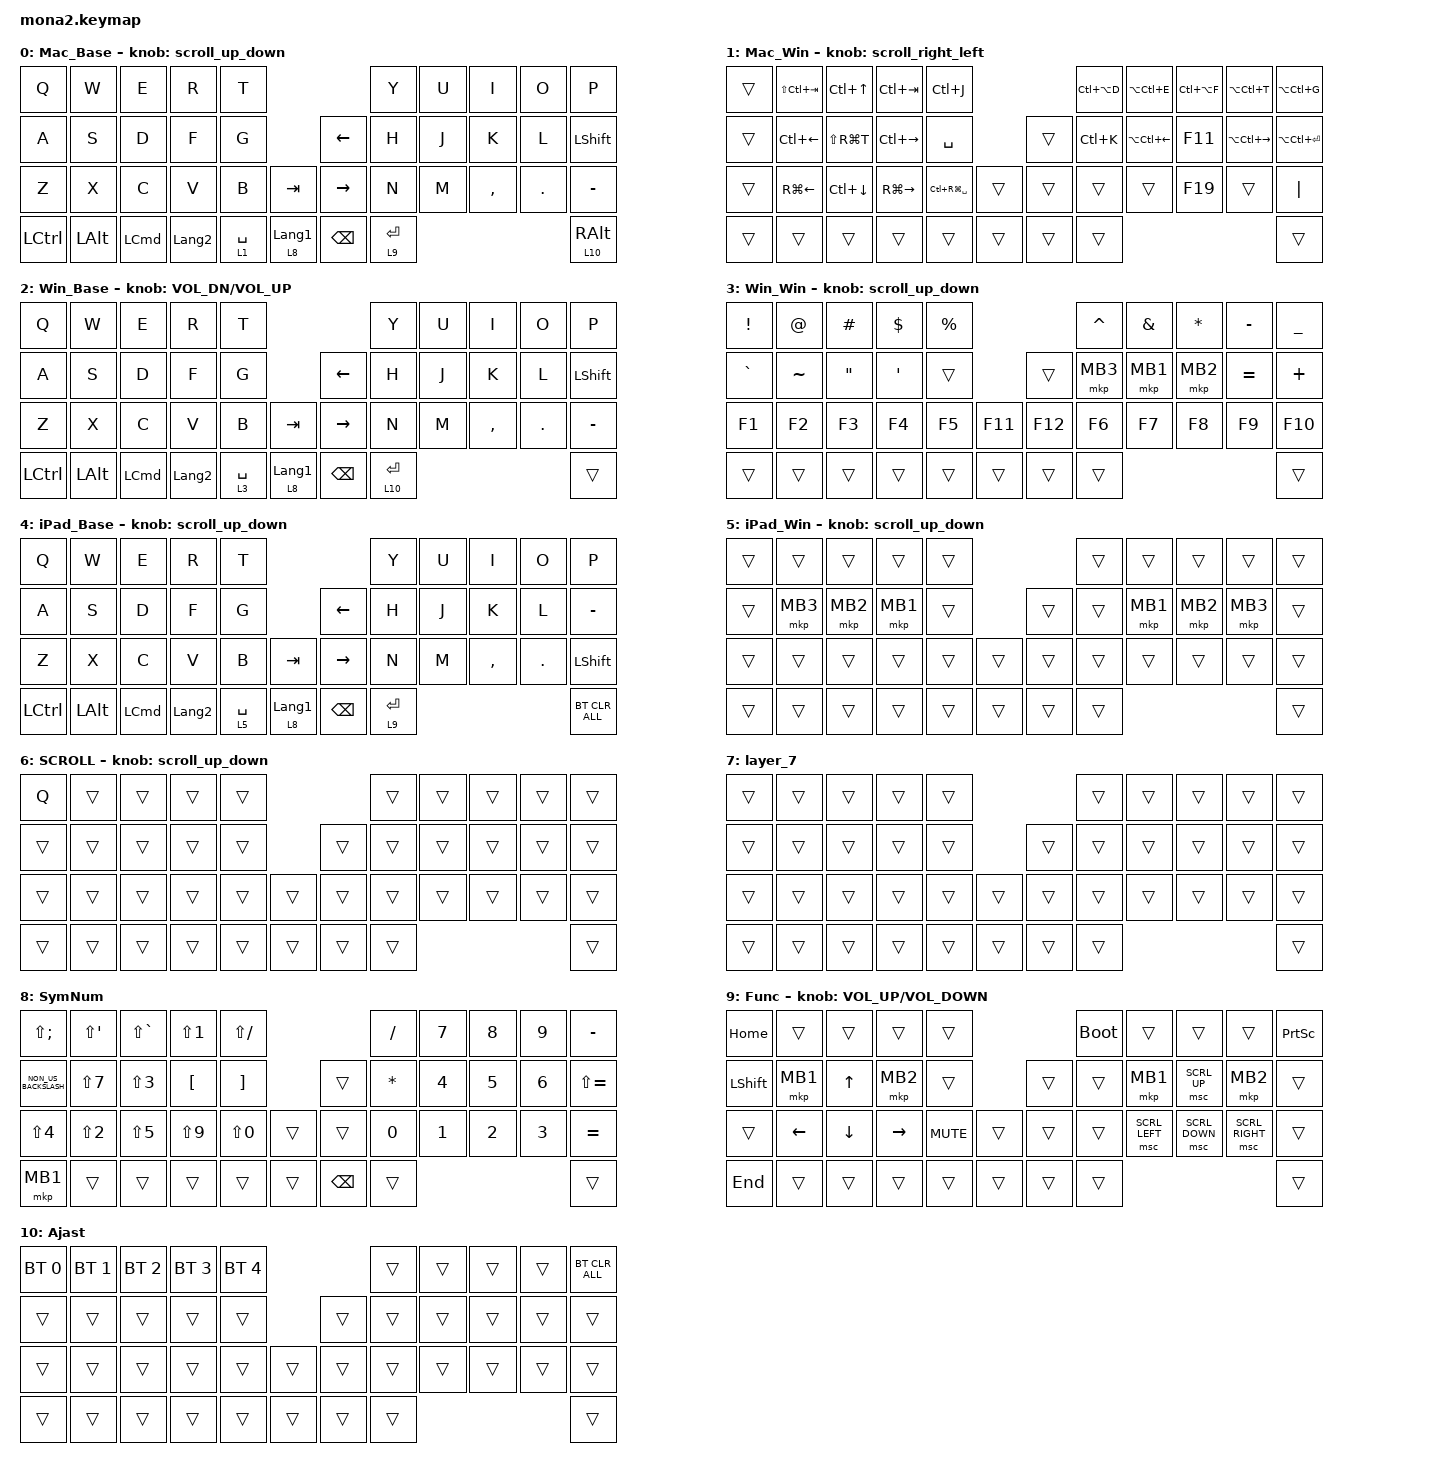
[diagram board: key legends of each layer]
#include <input/processors.dtsi>
#include <dt-bindings/zmk/input_transform.h>
#include <zephyr/dt-bindings/input/input-event-codes.h>
#include <behaviors.dtsi>
#include <dt-bindings/zmk/bt.h>
#include <dt-bindings/zmk/keys.h>
#include <dt-bindings/zmk/pointing.h>

#define ZMK_POINTING_DEFAULT_SCRL_VAL 100
#define MOUSE 5
#define SCROLL 6

&mt {
    flavor = "balanced";
    quick-tap-ms = <0>;
};

&lt {
    quick-tap-ms = <300>;
    flavor = "balanced";
};

/ {
    combos {
        compatible = "zmk,combos";

        layer4_ESC {
            bindings = <&lt 5 ESC>;
            key-positions = <39 38>;
        };

        tab {
            bindings = <&kp TAB>;
            key-positions = <11 12>;
        };
    };

    macros {
        mac: mac {
            compatible = "zmk,behavior-macro";
            #binding-cells = <0>;
            bindings = <&bt BT_SEL 0>, <&macro_wait_time 200>, <&to 0>;

            label = "MAC";
        };

        win: win {
            compatible = "zmk,behavior-macro";
            #binding-cells = <0>;
            bindings = <&bt BT_SEL 1>, <&macro_wait_time 200>, <&to 2>;

            label = "WIN";
        };

        win_coppo: win_coppo {
            compatible = "zmk,behavior-macro";
            #binding-cells = <0>;
            bindings = <&bt BT_SEL 2>, <&macro_wait_time 200>, <&to 2>;

            label = "WIN_COPPO";
        };

        iPad: iPad {
            compatible = "zmk,behavior-macro";
            #binding-cells = <0>;
            bindings = <&bt BT_SEL 3>, <&macro_wait_time 200>, <&to 4>;

            label = "IPAD";
        };
    };

    behaviors {
        scroll_up_down: mouse_wheel_up_down {
            compatible = "zmk,behavior-sensor-rotate";
            #sensor-binding-cells = <0>;
            bindings = <&msc SCRL_DOWN>, <&msc SCRL_UP>;

            tap-ms = <20>;
        };

        scroll_right_left: mouse_wheel_right_left {
            compatible = "zmk,behavior-sensor-rotate";
            #sensor-binding-cells = <0>;
            bindings = <&msc SCRL_LEFT>, <&msc SCRL_RIGHT>;

            tap-ms = <20>;
        };
    };

    keymap {
        compatible = "zmk,keymap";

        Mac_Base {
            bindings = <
&kp Q      &kp W         &kp E             &kp R           &kp T                                             &kp Y        &kp U  &kp I      &kp O    &kp P
&kp A      &kp S         &kp D             &kp F           &kp G                            &kp LEFT_ARROW   &kp H        &kp J  &kp K      &kp L    &kp LEFT_SHIFT
&kp Z      &kp X         &kp C             &kp V           &kp B        &kp TAB             &kp RIGHT_ARROW  &kp N        &kp M  &kp COMMA  &kp DOT  &kp MINUS
&kp LCTRL  &kp LEFT_ALT  &kp LEFT_COMMAND  &kp LANGUAGE_2  &lt 1 SPACE  &lt 8 LANGUAGE_1    &kp BACKSPACE    &lt 9 ENTER                             &lt 10 RIGHT_ALT
            >;

            sensor-bindings = <&scroll_up_down>;
        };

        Mac_Win {
            bindings = <
&trans  &kp LS(LC(TAB))     &kp LC(UP_ARROW)    &kp LC(TAB)          &kp LC(J)                            &kp LC(LA(D))  &kp LA(LC(E))           &kp LC(LA(F))  &kp LA(LC(T))            &kp LA(LC(G))
&trans  &kp LC(LEFT_ARROW)  &kp LS(RG(T))       &kp LC(RIGHT_ARROW)  &kp SPACE                    &trans  &kp LC(K)      &kp LA(LC(LEFT_ARROW))  &kp F11        &kp LA(LC(RIGHT_ARROW))  &kp LA(LC(ENTER))
&trans  &kp RG(LEFT_ARROW)  &kp LC(DOWN_ARROW)  &kp RG(RIGHT_ARROW)  &kp LC(RG(SPACE))  &trans    &trans  &trans         &trans                  &kp F19        &trans                   &kp PIPE
&trans  &trans              &trans              &trans               &trans             &trans    &trans  &trans                                                                         &trans
            >;

            sensor-bindings = <&scroll_right_left>;
        };

        Win_Base {
            bindings = <
&kp Q             &kp W         &kp E             &kp R           &kp T                                             &kp Y         &kp U  &kp I      &kp O       &kp P
&kp A             &kp S         &kp D             &kp F           &kp G                            &kp LEFT_ARROW   &kp H         &kp J  &kp K      &kp L       &kp LEFT_SHIFT
&kp Z             &kp X         &kp C             &kp V           &kp B        &kp TAB             &kp RIGHT_ARROW  &kp N         &kp M  &kp COMMA  &kp PERIOD  &kp MINUS
&kp LEFT_CONTROL  &kp LEFT_ALT  &kp LEFT_COMMAND  &kp LANGUAGE_2  &lt 3 SPACE  &lt 8 LANGUAGE_1    &kp BACKSPACE    &lt 10 ENTER                                &trans
            >;

            sensor-bindings = <&inc_dec_kp C_VOL_DN C_VOL_UP>;
        };

        Win_Win {
            bindings = <
&kp EXCLAMATION  &kp AT_SIGN  &kp POUND          &kp DOLLAR  &kp PERCENT                      &kp CARET  &kp AMPERSAND  &kp ASTERISK  &kp MINUS  &kp UNDERSCORE
&kp GRAVE        &kp TILDE    &kp DOUBLE_QUOTES  &kp SQT     &trans                  &trans   &mkp MB3   &mkp MB1       &mkp MB2      &kp EQUAL  &kp PLUS
&kp F1           &kp F2       &kp F3             &kp F4      &kp F5       &kp F11    &kp F12  &kp F6     &kp F7         &kp F8        &kp F9     &kp F10
&trans           &trans       &trans             &trans      &trans       &trans     &trans   &trans                                             &trans
            >;

            sensor-bindings = <&scroll_up_down>;
        };

        iPad_Base {
            bindings = <
&kp Q             &kp W         &kp E             &kp R           &kp T                                             &kp Y        &kp U  &kp I      &kp O       &kp P
&kp A             &kp S         &kp D             &kp F           &kp G                            &kp LEFT_ARROW   &kp H        &kp J  &kp K      &kp L       &kp MINUS
&kp Z             &kp X         &kp C             &kp V           &kp B        &kp TAB             &kp RIGHT_ARROW  &kp N        &kp M  &kp COMMA  &kp PERIOD  &kp LEFT_SHIFT
&kp LEFT_CONTROL  &kp LEFT_ALT  &kp LEFT_COMMAND  &kp LANGUAGE_2  &lt 5 SPACE  &lt 8 LANGUAGE_1    &kp BACKSPACE    &lt 9 ENTER                                &bt BT_CLR_ALL
            >;

            sensor-bindings = <&scroll_up_down>;
        };

        iPad_Win {
            bindings = <
&trans  &trans    &trans    &trans    &trans                    &trans  &trans    &trans    &trans    &trans
&trans  &mkp MB3  &mkp MB2  &mkp MB1  &trans            &trans  &trans  &mkp MB1  &mkp MB2  &mkp MB3  &trans
&trans  &trans    &trans    &trans    &trans  &trans    &trans  &trans  &trans    &trans    &trans    &trans
&trans  &trans    &trans    &trans    &trans  &trans    &trans  &trans                                &trans
            >;

            sensor-bindings = <&scroll_up_down>;
        };

        SCROLL {
            bindings = <
&kp Q   &trans  &trans  &trans  &trans                    &trans  &trans  &trans  &trans  &trans
&trans  &trans  &trans  &trans  &trans            &trans  &trans  &trans  &trans  &trans  &trans
&trans  &trans  &trans  &trans  &trans  &trans    &trans  &trans  &trans  &trans  &trans  &trans
&trans  &trans  &trans  &trans  &trans  &trans    &trans  &trans                          &trans
            >;

            sensor-bindings = <&scroll_up_down>;
        };

        layer_7 {
            bindings = <
&trans  &trans  &trans  &trans  &trans                    &trans  &trans  &trans  &trans  &trans
&trans  &trans  &trans  &trans  &trans            &trans  &trans  &trans  &trans  &trans  &trans
&trans  &trans  &trans  &trans  &trans  &trans    &trans  &trans  &trans  &trans  &trans  &trans
&trans  &trans  &trans  &trans  &trans  &trans    &trans  &trans                          &trans
            >;
        };

        SymNum {
            bindings = <
&kp LS(SEMICOLON)     &kp LS(SQT)       &kp LS(GRAVE)     &kp LS(NUMBER_1)  &kp LS(SLASH)                               &kp SLASH     &kp NUMBER_7  &kp NUMBER_8  &kp NUMBER_9  &kp MINUS
&kp NON_US_BACKSLASH  &kp LS(N7)        &kp LS(NUMBER_3)  &kp LEFT_BRACKET  &kp RIGHT_BRACKET            &trans         &kp ASTERISK  &kp NUMBER_4  &kp NUMBER_5  &kp NUMBER_6  &kp LS(EQUAL)
&kp LS(NUMBER_4)      &kp LS(NUMBER_2)  &kp LS(N5)        &kp LS(N9)        &kp LS(N0)         &trans    &trans         &kp N0        &kp NUMBER_1  &kp NUMBER_2  &kp NUMBER_3  &kp EQUAL
&mkp MB1              &trans            &trans            &trans            &trans             &trans    &kp BACKSPACE  &trans                                                  &trans
            >;
        };

        Func {
            bindings = <
&kp HOME        &trans          &trans          &trans           &trans                        &bootloader  &trans          &trans          &trans           &kp PSCRN
&kp LEFT_SHIFT  &mkp MB1        &kp UP_ARROW    &mkp MB2         &trans                &trans  &trans       &mkp MB1        &msc SCRL_UP    &mkp MB2         &trans
&trans          &kp LEFT_ARROW  &kp DOWN_ARROW  &kp RIGHT_ARROW  &kp K_MUTE  &trans    &trans  &trans       &msc SCRL_LEFT  &msc SCRL_DOWN  &msc SCRL_RIGHT  &trans
&kp END         &trans          &trans          &trans           &trans      &trans    &trans  &trans                                                        &trans
            >;

            sensor-bindings = <&inc_dec_kp C_VOLUME_UP C_VOLUME_DOWN>;
        };

        Ajast {
            bindings = <
&bt BT_SEL 0  &bt BT_SEL 1  &bt BT_SEL 2  &bt BT_SEL 3  &bt BT_SEL 4                    &trans  &trans  &trans  &trans  &bt BT_CLR_ALL
&trans        &trans        &trans        &trans        &trans                  &trans  &trans  &trans  &trans  &trans  &trans
&trans        &trans        &trans        &trans        &trans        &trans    &trans  &trans  &trans  &trans  &trans  &trans
&trans        &trans        &trans        &trans        &trans        &trans    &trans  &trans                          &trans
            >;
        };
    };
};
